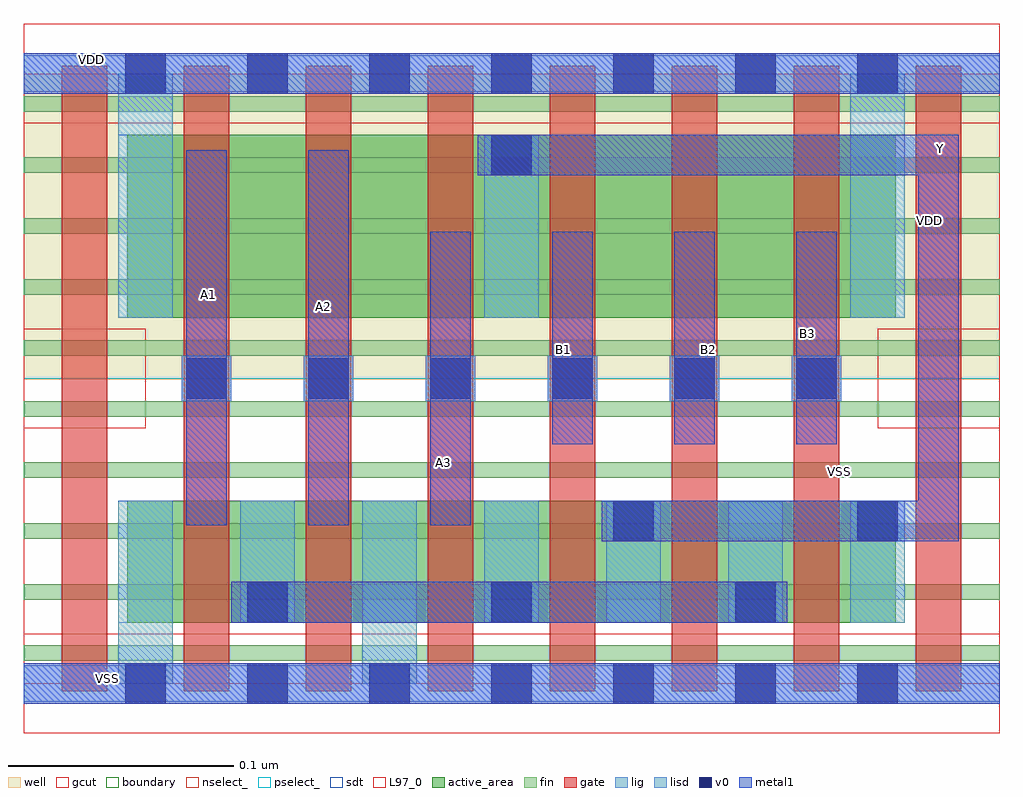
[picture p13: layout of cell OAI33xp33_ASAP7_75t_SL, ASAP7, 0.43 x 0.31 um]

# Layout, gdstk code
import gdstk
lib = gdstk.Library(unit=1e-6, precision=2.5e-10)
def R(c, l, rs):  # rectangles x0, y0, x1, y1
    for r in rs: c.add(gdstk.rectangle(r[:2], r[2:], *l))
def A(c, l, x, y, w, h, nx, ny, dx, dy):  # array of equal rectangles
    R(c, l, [(x+i*dx, y+j*dy, x+i*dx+w, y+j*dy+h) for i in range(nx) for j in range(ny)])
def P(c, l, *ps):  # polygons
    for p in ps: c.add(gdstk.Polygon(p, *l))
well = (1, 0)
fin = (2, 0)
gate = (7, 0)
gcut = (10, 0)
active_area = (11, 0)
nselect_ = (12, 0)
pselect_ = (13, 0)
lig = (16, 0)
lisd = (17, 0)
v0 = (18, 0)
metal1 = (19, 0)
sdt = (88, 0)
L97_0 = (97, 0)
boundary = (100, 0)

oai33xp33_asap7_75t_sl = lib.new_cell('OAI33xp33_ASAP7_75t_SL')
R(oai33xp33_asap7_75t_sl, well, [(0,0.135,0.432,0.27)])
A(oai33xp33_asap7_75t_sl, fin, 0, 0.01, 0.432, 0.007, 1, 10, 0, 0.027)
A(oai33xp33_asap7_75t_sl, gate, 0.017, -0.0035, 0.02, 0.277, 8, 1, 0.054, 0)
R(oai33xp33_asap7_75t_sl, gcut, [(0,-0.022,0.432,0.022), (0,0.113,0.054,0.157), (0.378,0.113,0.432,0.157), (0,0.248,0.432,0.292)])
R(oai33xp33_asap7_75t_sl, active_area, [(0.046,0.027,0.386,0.081), (0.046,0.162,0.386,0.243)])
R(oai33xp33_asap7_75t_sl, nselect_, [(0,0,0.432,0.135)])
R(oai33xp33_asap7_75t_sl, pselect_, [(0,0.135,0.432,0.27)])
A(oai33xp33_asap7_75t_sl, lig, 0.07, 0.125, 0.022, 0.02, 6, 1, 0.054, 0)
R(oai33xp33_asap7_75t_sl, lig, [(0,-0.008,0.432,0.008), (0,0.262,0.432,0.278)])
A(oai33xp33_asap7_75t_sl, lisd, 0.204, 0.027, 0.024, 0.054, 4, 1, 0.054, 0)
R(oai33xp33_asap7_75t_sl, lisd, [(0.042,0,0.066,0.081), (0.15,0,0.174,0.081), (0.096,0.027,0.12,0.081), (0.042,0.162,0.066,0.27), (0.204,0.162,0.228,0.243), (0.366,0.162,0.39,0.27)])
A(oai33xp33_asap7_75t_sl, v0, 0.045, -0.009, 0.018, 0.018, 7, 2, 0.054, 0.27)
A(oai33xp33_asap7_75t_sl, v0, 0.099, 0.027, 0.018, 0.018, 3, 1, 0.108, 0)
A(oai33xp33_asap7_75t_sl, v0, 0.072, 0.126, 0.018, 0.018, 6, 1, 0.054, 0)
R(oai33xp33_asap7_75t_sl, v0, [(0.261,0.063,0.279,0.081), (0.369,0.063,0.387,0.081), (0.207,0.225,0.225,0.243)])
A(oai33xp33_asap7_75t_sl, metal1, 0.234, 0.106, 0.018, 0.094, 3, 1, 0.054, 0)
R(oai33xp33_asap7_75t_sl, metal1, [(0,-0.009,0.432,0.009), (0.092,0.027,0.338,0.045), (0.072,0.07,0.09,0.236), (0.126,0.07,0.144,0.236), (0.18,0.07,0.198,0.2), (0,0.261,0.432,0.279)])
P(oai33xp33_asap7_75t_sl, metal1, [(0.414,0.063),(0.256,0.063),(0.256,0.081),(0.396,0.081),(0.396,0.225),(0.201,0.225),(0.201,0.243),(0.414,0.243)])
A(oai33xp33_asap7_75t_sl, sdt, 0.042, 0.027, 0.024, 0.054, 7, 1, 0.054, 0)
A(oai33xp33_asap7_75t_sl, sdt, 0.042, 0.162, 0.024, 0.081, 3, 1, 0.162, 0)
R(oai33xp33_asap7_75t_sl, L97_0, [(0,0,0.432,0.27)])
R(oai33xp33_asap7_75t_sl, boundary, [(0,0,0.432,0.27)])
oai33xp33_asap7_75t_sl.add(gdstk.Label('Y', (0.406,0.237), layer=19, texttype=251))
oai33xp33_asap7_75t_sl.add(gdstk.Label('B1', (0.239,0.148), layer=19, texttype=251))
oai33xp33_asap7_75t_sl.add(gdstk.Label('VDD', (0.03,0.276), layer=19, texttype=251))
oai33xp33_asap7_75t_sl.add(gdstk.Label('VSS', (0.037,0.002), layer=19, texttype=251))
oai33xp33_asap7_75t_sl.add(gdstk.Label('A1', (0.082,0.172), layer=19, texttype=251))
oai33xp33_asap7_75t_sl.add(gdstk.Label('A2', (0.133,0.167), layer=19, texttype=251))
oai33xp33_asap7_75t_sl.add(gdstk.Label('B2', (0.303,0.148), layer=19, texttype=251))
oai33xp33_asap7_75t_sl.add(gdstk.Label('A3', (0.186,0.098), layer=19, texttype=251))
oai33xp33_asap7_75t_sl.add(gdstk.Label('B3', (0.347,0.155), layer=19, texttype=251))
oai33xp33_asap7_75t_sl.add(gdstk.Label('VDD', (0.401,0.205), layer=1, texttype=251))
oai33xp33_asap7_75t_sl.add(gdstk.Label('VSS', (0.361,0.094), layer=3, texttype=251))

lib.write_gds('OAI33xp33_ASAP7_75t_SL.gds')
